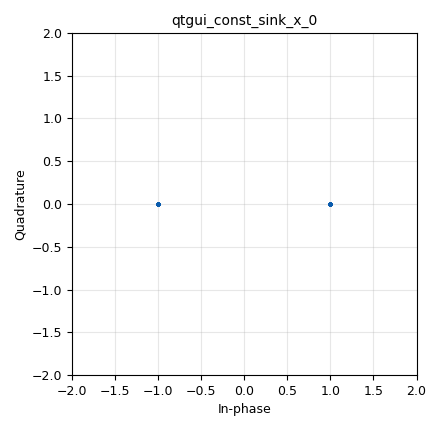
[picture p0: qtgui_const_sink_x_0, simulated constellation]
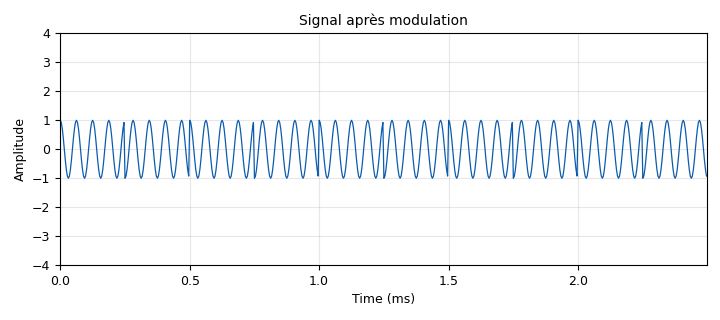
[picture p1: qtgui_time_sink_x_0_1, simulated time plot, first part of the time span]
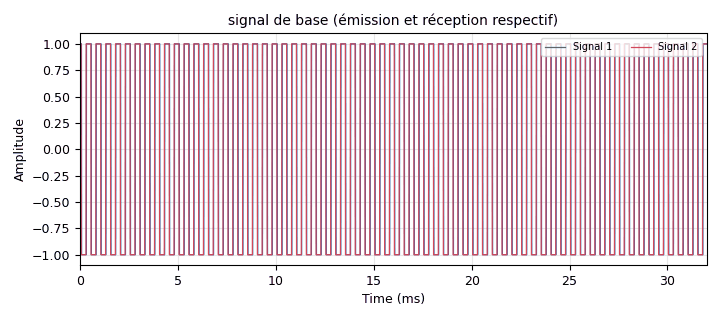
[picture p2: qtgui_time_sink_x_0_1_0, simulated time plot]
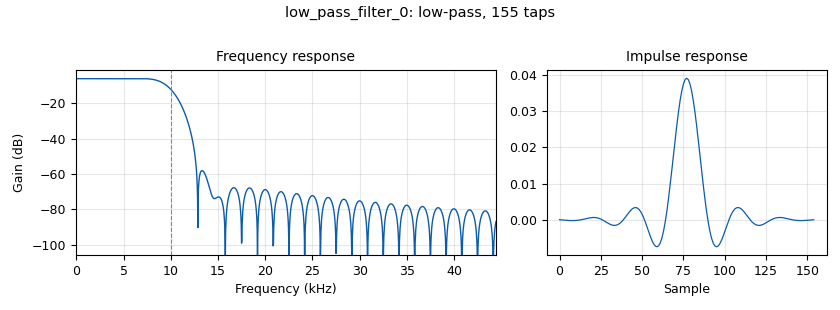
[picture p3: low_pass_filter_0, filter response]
options:
  parameters:
    generate_options: qt_gui
    id: QPSK
    output_language: python
    title: Not titled yet
  states: {}

blocks:
- name: Fc
  id: variable
  parameters:
    value: '16000'
  states: {}
- name: Fs
  id: variable
  parameters:
    value: 4 * Fc
  states: {}
- name: Rb
  id: variable
  parameters:
    value: '4000'
  states: {}
- name: samp_rate
  id: variable
  parameters:
    value: '256000'
  states: {}
- name: symbol_rate
  id: variable
  parameters:
    value: '4000'
  states: {}
- name: analog_sig_source_x_0
  id: analog_sig_source_x
  parameters:
    amp: '1'
    freq: Fc
    offset: '0'
    phase: '0'
    samp_rate: samp_rate
    type: float
    waveform: analog.GR_COS_WAVE
  states: {}
- name: blocks_delay_0
  id: blocks_delay
  parameters:
    delay: '80'
    type: float
  states: {}
- name: blocks_float_to_complex_0
  id: blocks_float_to_complex
  parameters: {}
  states: {}
- name: blocks_multiply_xx_0_1
  id: blocks_multiply_xx
  parameters:
    type: float
  states: {}
- name: blocks_multiply_xx_0_1_0
  id: blocks_multiply_xx
  parameters:
    type: float
  states: {}
- name: blocks_repeat_0
  id: blocks_repeat
  parameters:
    interp: int(samp_rate/symbol_rate)
    type: float
  states: {}
- name: blocks_throttle2_0_0
  id: blocks_throttle2
  parameters:
    samples_per_second: samp_rate
    type: float
  states: {}
- name: blocks_throttle2_0_0_0
  id: blocks_throttle2
  parameters:
    samples_per_second: samp_rate
    type: float
  states: {}
- name: blocks_vector_source_x_0
  id: blocks_vector_source_x
  parameters:
    repeat: 'True'
    type: byte
    vector: (0, 1)
  states: {}
- name: epy_block_1
  id: epy_block
  parameters:
    _source_code: "\nimport numpy as np\nfrom gnuradio import gr\n\nclass blk(gr.sync_block):\n    def __init__(self):\n        gr.sync_block.__init__(\n            self,\n            name='Mapping BPSK',\n            in_sig=[np.uint8],\n            out_sig=[np.float32]\n        )\n\n        # Mapping des bits vers les symboles BPSK\n        self.dico = {\n            0: 1,\n            1: -1\n        }\n\n    def work(self, input_items, output_items):\n        bits = input_items[0]\n        out = output_items[0]\n\n        for i, bit in enumerate(bits):\n            out[i] = self.dico[int(bit)]\n\n        return len(out)\n"
  states: {}
- name: epy_block_1_0
  id: epy_block
  parameters:
    _source_code: "\nimport numpy as np\nfrom gnuradio import gr\n\nclass blk(gr.sync_block):\n    def __init__(self):\n        gr.sync_block.__init__(\n            self,\n            name='Symbole Plus Proche',\n            in_sig=[np.float32],\n            out_sig=[np.float32]\n        )\n\n\n    def work(self, input_items, output_items):\n        valeurs_graphe_demod = input_items[0]\n        out = output_items[0]\n        for i, valeur in enumerate(valeurs_graphe_demod):\n            delta1 = abs(valeur-1)\n            delta2 = abs(valeur+1)\n            if (delta1 < delta2):\n                out[i] = 1\n            else: \n                out[i] = -1\n        return len(out)\n"
  states: {}
- name: low_pass_filter_0
  id: low_pass_filter
  parameters:
    cutoff_freq: '10000'
    decim: '1'
    gain: '0.5'
    samp_rate: samp_rate
    type: fir_filter_fff
    width: '4000'
    win: window.WIN_HAMMING
  states: {}
- name: note_0
  id: note
  parameters:
    note: 4 périodes par symbole
  states: {}
- name: note_0_0
  id: note
  parameters:
    note: symbol_rate < Fc*2
  states: {}
- name: note_0_0_0
  id: note
  parameters:
    note: Rb = log2(2^M) * symbol_rate
  states: {}
- name: note_0_0_0_0
  id: note
  parameters:
    note: samp_rate/symbol_rate
  states: {}
- name: note_0_2
  id: note
  parameters:
    note: Fs > 2 * Fc
  states: {}
- name: qtgui_const_sink_x_0
  id: qtgui_const_sink_x
  parameters:
    size: '1024'
    type: complex
  states: {}
- name: qtgui_time_sink_x_0_1
  id: qtgui_time_sink_x
  parameters:
    name: Signal après modulation
    size: '32768'
    srate: samp_rate
    type: float
    ymax: '4'
    ymin: '-4'
  states: {}
- name: qtgui_time_sink_x_0_1_0
  id: qtgui_time_sink_x
  parameters:
    autoscale: 'True'
    name: signal de base (émission et réception respectif)
    nconnections: '2'
    size: '8192'
    srate: samp_rate
    type: float
    update_time: '1'
    ymax: '2'
    ymin: '-2'
  states: {}

connections:
- [analog_sig_source_x_0, '0', blocks_multiply_xx_0_1, '0']
- [analog_sig_source_x_0, '0', blocks_multiply_xx_0_1_0, '1']
- [blocks_delay_0, '0', qtgui_time_sink_x_0_1_0, '0']
- [blocks_float_to_complex_0, '0', qtgui_const_sink_x_0, '0']
- [blocks_multiply_xx_0_1, '0', blocks_multiply_xx_0_1_0, '0']
- [blocks_multiply_xx_0_1, '0', qtgui_time_sink_x_0_1, '0']
- [blocks_multiply_xx_0_1_0, '0', low_pass_filter_0, '0']
- [blocks_repeat_0, '0', blocks_throttle2_0_0, '0']
- [blocks_throttle2_0_0, '0', blocks_delay_0, '0']
- [blocks_throttle2_0_0, '0', blocks_float_to_complex_0, '0']
- [blocks_throttle2_0_0, '0', blocks_multiply_xx_0_1, '1']
- [blocks_throttle2_0_0_0, '0', epy_block_1_0, '0']
- [blocks_vector_source_x_0, '0', epy_block_1, '0']
- [epy_block_1, '0', blocks_repeat_0, '0']
- [epy_block_1_0, '0', qtgui_time_sink_x_0_1_0, '1']
- [low_pass_filter_0, '0', blocks_throttle2_0_0_0, '0']

metadata:
  file_format: 1
  grc_version: 3.10.12.0
